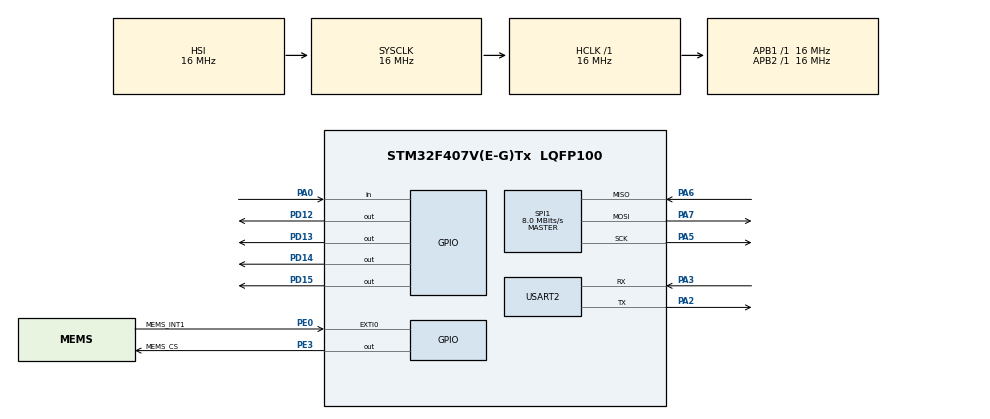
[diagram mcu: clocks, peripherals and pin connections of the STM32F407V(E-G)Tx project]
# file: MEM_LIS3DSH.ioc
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EdgeImpulse.my-smartphone-motion-project.1.0.9.MachineLearningCcmyAasmartphoneAamotionAaprojectJjCore=true
Mcu.Family=STM32F4
Mcu.Name=STM32F407V(E-G)Tx
Mcu.Package=LQFP100
NVIC.EXTI0_IRQn=true\:0\:0\:false\:false\:true\:true\:true\:true
NVIC.PriorityGroup=NVIC_PRIORITYGROUP_4
PA0-WKUP.Signal=GPIO_Input
PA2.Mode=Asynchronous
PA2.Signal=USART2_TX
PA3.Mode=Asynchronous
PA3.Signal=USART2_RX
PA5.Mode=Full_Duplex_Master
PA5.Signal=SPI1_SCK
PA6.Mode=Full_Duplex_Master
PA6.Signal=SPI1_MISO
PA7.Mode=Full_Duplex_Master
PA7.Signal=SPI1_MOSI
PD12.Signal=GPIO_Output
PD13.Signal=GPIO_Output
PD14.Signal=GPIO_Output
PD15.Signal=GPIO_Output
PE0.GPIO_Label=MEMS_INT1
PE0.Signal=GPXTI0
PE3.GPIO_Label=MEMS_CS
PE3.PinState=GPIO_PIN_SET
PE3.Signal=GPIO_Output
ProjectManager.HeapSize=0x200
ProjectManager.StackSize=0x400
ProjectManager.TargetToolchain=STM32CubeIDE
RCC.AHBFreq_Value=16000000
RCC.APB1Freq_Value=16000000
RCC.APB2Freq_Value=16000000
RCC.CortexFreq_Value=16000000
RCC.HSE_VALUE=25000000
RCC.HSI_VALUE=16000000
RCC.LSE_VALUE=32768
RCC.SYSCLKFreq_VALUE=16000000
RCC.VCOOutputFreq_Value=192000000
SPI1.CalculateBaudRate=8.0 MBits/s
SPI1.Direction=SPI_DIRECTION_2LINES
SPI1.Mode=SPI_MODE_MASTER
SPI1.VirtualType=VM_MASTER
USART2.VirtualMode=VM_ASYNC
VP_EdgeImpulse.my-smartphone-motion-project_VS_myAasmartphoneAamotionAaprojectJjMachineLearning_1.0.9_1.0.9.Mode=myAasmartphoneAamotionAaprojectJjMachineLearning
board=custom

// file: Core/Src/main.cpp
/* USER CODE BEGIN Header */
/**
  ******************************************************************************
  * @file           : main.cpp
  * @brief          : Main program body
  ******************************************************************************
  */
/* USER CODE END Header */

#include "main.h"

/* USER CODE BEGIN Includes */
#include "lis3dsh.h"
#include "circular_buffer.h"
#include "ai_controller.h"
#include <stdio.h>
/* USER CODE END Includes */

#ifdef __cplusplus
extern "C" {
#endif

SPI_HandleTypeDef hspi1;
UART_HandleTypeDef huart2;

/* USER CODE BEGIN PV */
LIS3DSH_t mems;
Circular_Buffer_t sensor_kuyrugu;

volatile uint8_t kayit_aktif = 0;
/* USER CODE END PV */

void SystemClock_Config(void);
static void MX_GPIO_Init(void);
static void MX_SPI1_Init(void);
static void MX_USART2_UART_Init(void);

/* USER CODE BEGIN 0 */

// --- Seri Port (UART) Yönlendirmesi ---
#ifdef __GNUC__
#define PUTCHAR_PROTOTYPE int __io_putchar(int ch)
#else
#define PUTCHAR_PROTOTYPE int fputc(int ch, FILE *f)
#endif
PUTCHAR_PROTOTYPE
{
  HAL_UART_Transmit(&huart2, (uint8_t *)&ch, 1, HAL_MAX_DELAY);
  return ch;
}

// --- Sensör Kesmesi (Interrupt) ---
void HAL_GPIO_EXTI_Callback(uint16_t GPIO_Pin)
{
    // Sadece butona basıldığında veri topla (beklemede eski veri birikmesini önler)
    if(GPIO_Pin == MEMS_INT1_Pin && kayit_aktif == 1)
    {
        LIS3DSH_Read_XYZ(&mems);

        Sensor_Data_t anlik_veri;
        anlik_veri.x = mems.x_raw;
        anlik_veri.y = mems.y_raw;
        anlik_veri.z = mems.z_raw;

        Circular_Buffer_Enqueue(&sensor_kuyrugu, anlik_veri);
    }
}
/* USER CODE END 0 */

int main(void)
{
  /* MCU Configuration--------------------------------------------------------*/
  HAL_Init();
  SystemClock_Config();

  /* Initialize all configured peripherals */
  MX_GPIO_Init();
  MX_SPI1_Init();
  MX_USART2_UART_Init();

  /* USER CODE BEGIN 2 */
  LIS3DSH_Initialization(&mems, &hspi1, MEMS_CS_GPIO_Port, MEMS_CS_Pin);
  Circular_Buffer_Init(&sensor_kuyrugu);

  printf("\r\n======================================\r\n");
  printf("Sistem Hazir. Mavi Butona (PA0) Basin...\r\n");
  printf("======================================\r\n");
  /* USER CODE END 2 */

  /* Infinite loop */
  /* USER CODE BEGIN WHILE */
  while (1)
  {
      // Sistem boştaysa ve Mavi Butona basıldıysa
      if (kayit_aktif == 0 && HAL_GPIO_ReadPin(GPIOA, GPIO_PIN_0) == GPIO_PIN_SET)
      {
          printf("\r\n--- Yeni Kayit Basladi (3.5 Saniye) ---\r\n");

          Circular_Buffer_Init(&sensor_kuyrugu); // Eski verileri temizle
          kayit_aktif = 1; // Sensörü aç

          // Kuyruk dolana kadar bekle
          while(Circular_Buffer_Count(&sensor_kuyrugu) < 175)
          {
              HAL_GPIO_TogglePin(GPIOD, GPIO_PIN_12 | GPIO_PIN_13 | GPIO_PIN_14 | GPIO_PIN_15);
              HAL_Delay(100);
          }

          kayit_aktif = 0; // Sensörü kapat
          HAL_GPIO_WritePin(GPIOD, GPIO_PIN_12 | GPIO_PIN_13 | GPIO_PIN_14 | GPIO_PIN_15, GPIO_PIN_RESET);

          // AI_Process_Buffer fonksiyonu, referans olarak kuyruğu alır.
          // Bütün anomali hesaplamaları, float dönüşümleri ve tahmin işlemleri
          // ai_controller.cpp dosyasının içinde halledilir.
          AI_Process_Buffer(&sensor_kuyrugu);

          HAL_Delay(3000); // Kullanıcıya sonucu görmesi için süre tanı

          // Tüm LED'leri söndür ve yeni kayda hazır hale gel
          HAL_GPIO_WritePin(GPIOD, GPIO_PIN_12 | GPIO_PIN_13 | GPIO_PIN_14 | GPIO_PIN_15, GPIO_PIN_RESET);
          printf("\r\nSistem Hazir. Mavi Butona (PA0) Basin...\r\n");
      }
    /* USER CODE END WHILE */
  }
}

void SystemClock_Config(void)
{
  RCC_OscInitTypeDef RCC_OscInitStruct = {0};
  RCC_ClkInitTypeDef RCC_ClkInitStruct = {0};

  __HAL_RCC_PWR_CLK_ENABLE();
  __HAL_PWR_VOLTAGESCALING_CONFIG(PWR_REGULATOR_VOLTAGE_SCALE1);

  RCC_OscInitStruct.OscillatorType = RCC_OSCILLATORTYPE_HSI;
  RCC_OscInitStruct.HSIState = RCC_HSI_ON;
  RCC_OscInitStruct.HSICalibrationValue = RCC_HSICALIBRATION_DEFAULT;
  RCC_OscInitStruct.PLL.PLLState = RCC_PLL_NONE;
  if (HAL_RCC_OscConfig(&RCC_OscInitStruct) != HAL_OK)
  {
    Error_Handler();
  }

  RCC_ClkInitStruct.ClockType = RCC_CLOCKTYPE_HCLK|RCC_CLOCKTYPE_SYSCLK
                              |RCC_CLOCKTYPE_PCLK1|RCC_CLOCKTYPE_PCLK2;
  RCC_ClkInitStruct.SYSCLKSource = RCC_SYSCLKSOURCE_HSI;
  RCC_ClkInitStruct.AHBCLKDivider = RCC_SYSCLK_DIV1;
  RCC_ClkInitStruct.APB1CLKDivider = RCC_HCLK_DIV1;
  RCC_ClkInitStruct.APB2CLKDivider = RCC_HCLK_DIV1;

  if (HAL_RCC_ClockConfig(&RCC_ClkInitStruct, FLASH_LATENCY_0) != HAL_OK)
  {
    Error_Handler();
  }
}

static void MX_SPI1_Init(void)
{
  hspi1.Instance = SPI1;
  hspi1.Init.Mode = SPI_MODE_MASTER;
  hspi1.Init.Direction = SPI_DIRECTION_2LINES;
  hspi1.Init.DataSize = SPI_DATASIZE_8BIT;
  hspi1.Init.CLKPolarity = SPI_POLARITY_LOW;
  hspi1.Init.CLKPhase = SPI_PHASE_1EDGE;
  hspi1.Init.NSS = SPI_NSS_SOFT;
  hspi1.Init.BaudRatePrescaler = SPI_BAUDRATEPRESCALER_2;
  hspi1.Init.FirstBit = SPI_FIRSTBIT_MSB;
  hspi1.Init.TIMode = SPI_TIMODE_DISABLE;
  hspi1.Init.CRCCalculation = SPI_CRCCALCULATION_DISABLE;
  hspi1.Init.CRCPolynomial = 10;
  if (HAL_SPI_Init(&hspi1) != HAL_OK)
  {
    Error_Handler();
  }
}

static void MX_USART2_UART_Init(void)
{
  huart2.Instance = USART2;
  huart2.Init.BaudRate = 115200;
  huart2.Init.WordLength = UART_WORDLENGTH_8B;
  huart2.Init.StopBits = UART_STOPBITS_1;
  huart2.Init.Parity = UART_PARITY_NONE;
  huart2.Init.Mode = UART_MODE_TX_RX;
  huart2.Init.HwFlowCtl = UART_HWCONTROL_NONE;
  huart2.Init.OverSampling = UART_OVERSAMPLING_16;
  if (HAL_UART_Init(&huart2) != HAL_OK)
  {
    Error_Handler();
  }
}

static void MX_GPIO_Init(void)
{
  GPIO_InitTypeDef GPIO_InitStruct = {0};

  /* GPIO Ports Clock Enable */
  __HAL_RCC_GPIOE_CLK_ENABLE();
  __HAL_RCC_GPIOA_CLK_ENABLE();
  __HAL_RCC_GPIOD_CLK_ENABLE();

  /*Configure GPIO pin Output Level */
  HAL_GPIO_WritePin(MEMS_CS_GPIO_Port, MEMS_CS_Pin, GPIO_PIN_SET);
  HAL_GPIO_WritePin(GPIOD, GPIO_PIN_12|GPIO_PIN_13|GPIO_PIN_14|GPIO_PIN_15, GPIO_PIN_RESET);

  /*Configure GPIO pin : MEMS_CS_Pin */
  GPIO_InitStruct.Pin = MEMS_CS_Pin;
  GPIO_InitStruct.Mode = GPIO_MODE_OUTPUT_PP;
  GPIO_InitStruct.Pull = GPIO_NOPULL;
  GPIO_InitStruct.Speed = GPIO_SPEED_FREQ_LOW;
  HAL_GPIO_Init(MEMS_CS_GPIO_Port, &GPIO_InitStruct);

  /*Configure GPIO pins : PD12 PD13 PD14 PD15 */
  GPIO_InitStruct.Pin = GPIO_PIN_12|GPIO_PIN_13|GPIO_PIN_14|GPIO_PIN_15;
  GPIO_InitStruct.Mode = GPIO_MODE_OUTPUT_PP;
  GPIO_InitStruct.Pull = GPIO_NOPULL;
  GPIO_InitStruct.Speed = GPIO_SPEED_FREQ_LOW;
  HAL_GPIO_Init(GPIOD, &GPIO_InitStruct);

  /*Configure GPIO pin : MEMS_INT1_Pin */
  GPIO_InitStruct.Pin = MEMS_INT1_Pin;
  GPIO_InitStruct.Mode = GPIO_MODE_IT_RISING;
  GPIO_InitStruct.Pull = GPIO_NOPULL;
  HAL_GPIO_Init(MEMS_INT1_GPIO_Port, &GPIO_InitStruct);

  /* EXTI interrupt init*/
  HAL_NVIC_SetPriority(EXTI0_IRQn, 0, 0);
  HAL_NVIC_EnableIRQ(EXTI0_IRQn);
}

void Error_Handler(void)
{
  __disable_irq();
  while (1)
  {
  }
}

#ifdef __cplusplus
}
#endif
